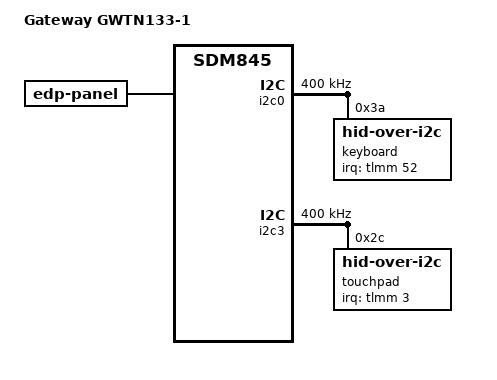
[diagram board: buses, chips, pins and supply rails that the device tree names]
// SPDX-License-Identifier: BSD-3-Clause
/*
 * Gateway GWTN133-1
 *
 * Huawei's MateBook E 2019 board as a clamshell. Its DSDT is the
 * MateBook's with a Sharp LQ133M1JW15-E 1920x1080 panel behind the same
 * SN65DSI86 bridge, the keyboard on i2c0 and the touchpad on i2c3, and
 * neither the touchscreen nor the fingerprint reader.
 */

#include "sdm850-huawei-matebook-e-2019.dts"

/ {
	model = "Gateway GWTN133-1";
	compatible = "acer,gateway-gwtn133-1", "qcom,sdm845";
	chassis-type = "laptop";

	gpio-keys {
		pinctrl-0 = <&volume_up_gpio>;

		/delete-node/ switch-mode;
	};
};

&i2c0 {
	clock-frequency = <400000>;

	status = "okay";

	keyboard@3a {
		compatible = "hid-over-i2c";
		reg = <0x3a>;
		hid-descr-addr = <0x1>;

		interrupts-extended = <&tlmm 52 IRQ_TYPE_LEVEL_LOW>;

		pinctrl-0 = <&kb_int_default>;
		pinctrl-names = "default";

		wakeup-source;
	};
};

&i2c3 {
	clock-frequency = <400000>;

	status = "okay";

	touchpad@2c {
		compatible = "hid-over-i2c";
		reg = <0x2c>;
		hid-descr-addr = <0x20>;

		interrupts-extended = <&tlmm 3 IRQ_TYPE_LEVEL_LOW>;

		pinctrl-0 = <&tpad_int_default>;
		pinctrl-names = "default";

		wakeup-source;
	};
};

&i2c5 {
	status = "disabled";
};

&panel {
	compatible = "edp-panel";
};

&tlmm {
	gpio-reserved-ranges = <2 1>, <81 4>;

	kb_int_default: kb-int-default-state {
		pins = "gpio52";
		function = "gpio";
		drive-strength = <2>;
		bias-pull-up;
	};

	tpad_int_default: tpad-int-default-state {
		pins = "gpio3";
		function = "gpio";
		drive-strength = <2>;
		bias-pull-up;
	};
};
